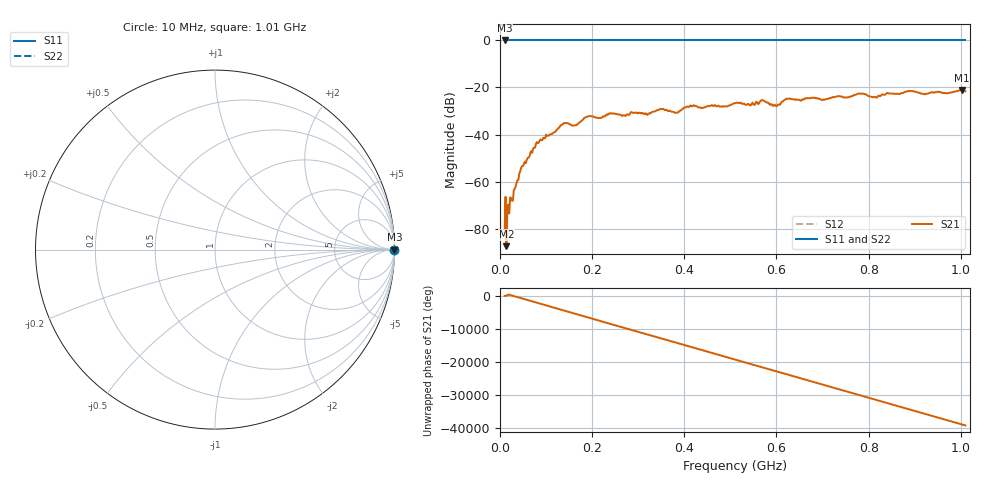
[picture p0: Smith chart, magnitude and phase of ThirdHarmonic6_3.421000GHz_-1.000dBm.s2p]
! 8/17/2025 10:58:45 AM
! C:\ANRITSUVNA\TEMP\TEMP.S2P
! CHANNEL.1
! TR.MEASUREMENT
! RAW.DATA
! RF.CORRECTION.OFF
! AVERAGING.OFF
! IF.BANDWIDTH: 5KHZ
! SWEEPTYPE:  FREQ.SWEEP(Linear)
! Reference Plane Port Info
! PORT:  PORT1  PORT2
! DISTANCE:  0  m  0  m
! TIME:  0  s  0  s
! PHASE.OFFSET:  0  deg.  0  deg.
! LOSS:  0  dB  0  dB
! REF.LOSS:  0  dB  0  dB
! REF.FREQ:  0  Hz  0  Hz
! Power Info
! POWER:  -20  dBm  -20  dBm
! EFF.POWER:  -20  dBm  -20  dBm
! SOURCE.ATTEN:  0  dB  0  dB
! TEST.ATTEN:  0  dB  0  dB
# GHZ S RI R 50.0
! FREQ.GHZ  S11RE  S11IM  S21RE  S21IM  S12RE  S12IM  S22RE  S22IM
!; PortSelection: Port_12
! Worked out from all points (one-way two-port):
!   501 points, 10 MHz to 1.01 GHz, reference 50 ohm
!   highest |S21| = -21.00 dB at 1.002 GHz (marker M1); lowest = -87.5 dB at 14 MHz (marker M2)
!   lowest |S11| = 0.0 dB at 10 MHz (marker M3)
!   |S11| at or under -10 dB: nowhere
!   |S22| runs from 0.0 to 0.0 dB; largest |S21 - S12| = 1.1
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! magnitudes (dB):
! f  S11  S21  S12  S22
! 10 MHz  0.0  -82.3  0.0  0.0
! 14 MHz  0.0  -87.5  0.0  0.0
! 46 MHz  0.0  -54.0  0.0  0.0
! 82 MHz  0.0  -43.7  0.0  0.0
! 136 MHz  0.0  -35.6  0.0  0.0
! 162 MHz  0.0  -36.1  0.0  0.0
! 178 MHz  0.0  -34.0  0.0  0.0
! 192 MHz  0.0  -32.2  0.0  0.0
! 322 MHz  0.0  -31.2  0.0  0.0
! 344 MHz  0.0  -29.6  0.0  0.0
! 384 MHz  0.0  -30.6  0.0  0.0
! 416 MHz  0.0  -28.0  0.0  0.0
! 510 MHz  0.0  -26.7  0.0  0.0
! 570 MHz  0.0  -25.4  0.0  0.0
! 596 MHz  0.0  -27.3  0.0  0.0
! 624 MHz  0.0  -24.8  0.0  0.0
! 678 MHz  0.0  -24.4  0.0  0.0
! 782 MHz  0.0  -22.7  0.0  0.0
! 814 MHz  0.0  -24.0  0.0  0.0
! 844 MHz  0.0  -22.5  0.0  0.0
! 1.002 GHz  0.0  -21.0  0.0  0.0
! 1.01 GHz  0.0  -21.6  0.0  0.0
